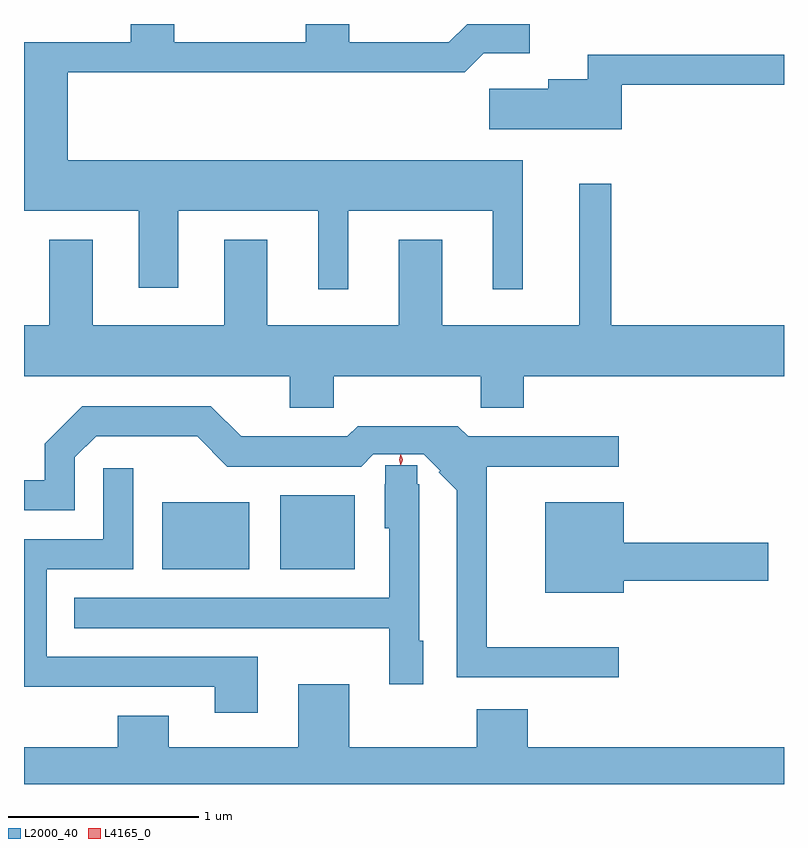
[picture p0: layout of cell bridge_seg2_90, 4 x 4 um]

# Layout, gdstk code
import gdstk
lib = gdstk.Library(unit=1e-6, precision=1e-09)
def R(c, l, rs):  # rectangles x0, y0, x1, y1
    for r in rs: c.add(gdstk.rectangle(r[:2], r[2:], *l))
def P(c, l, *ps):  # polygons
    for p in ps: c.add(gdstk.Polygon(p, *l))
L2000_40 = (2000, 40)
L4165_0 = (4165, 0)

bridge_seg2_90 = lib.new_cell('bridge_seg2_90')
R(bridge_seg2_90, L2000_40, [(1239.826,998.461,1240.284,998.814), (1240.446,998.461,1240.839,998.849)])
P(bridge_seg2_90, L2000_40, [(1240.804,1000.346),(1241.566,1000.346),(1241.566,999.933),(1241.724,999.933),(1241.724,1000.614),(1239.329,1000.614),(1239.329,1001.076),(1241.417,1001.076),(1241.517,1001.176),(1241.759,1001.176),(1241.759,1001.33),(1241.43,1001.33),(1241.334,1001.234),(1240.809,1001.234),(1240.809,1001.33),(1240.581,1001.33),(1240.581,1001.234),(1239.889,1001.234),(1239.889,1001.33),(1239.661,1001.33),(1239.661,1001.234),(1239.098,1001.234),(1239.098,1000.346),(1239.701,1000.346),(1239.701,999.941),(1239.909,999.941),(1239.909,1000.346),(1240.646,1000.346),(1240.646,999.933),(1240.804,999.933)],
  [(1242.244,1001.011),(1243.098,1001.011),(1243.098,1001.169),(1242.066,1001.169),(1242.066,1001.039),(1241.856,1001.039),(1241.856,1000.989),(1241.546,1000.989),(1241.546,1000.776),(1242.244,1000.776)],
  [(1240.729,999.476),(1241.501,999.476),(1241.501,999.311),(1241.729,999.311),(1241.729,999.476),(1243.098,999.476),(1243.098,999.744),(1242.189,999.744),(1242.189,1000.488),(1242.021,1000.488),(1242.021,999.744),(1241.299,999.744),(1241.299,1000.194),(1241.071,1000.194),(1241.071,999.744),(1240.379,999.744),(1240.379,1000.194),(1240.151,1000.194),(1240.151,999.744),(1239.459,999.744),(1239.459,1000.194),(1239.231,1000.194),(1239.231,999.744),(1239.098,999.744),(1239.098,999.476),(1240.496,999.476),(1240.496,999.311),(1240.729,999.311)],
  [(1242.228,998.049),(1241.534,998.049),(1241.534,999.001),(1242.228,999.001),(1242.228,999.159),(1241.437,999.159),(1241.382,999.214),(1240.854,999.214),(1240.799,999.159),(1240.242,999.159),(1240.082,999.319),(1239.404,999.319),(1239.206,999.122),(1239.206,998.929),(1239.098,998.929),(1239.098,998.771),(1239.364,998.771),(1239.364,999.049),(1239.477,999.161),(1240.009,999.161),(1240.169,999.001),(1240.872,999.001),(1240.937,999.066),(1241.202,999.066),(1241.288,998.98),(1241.281,998.972),(1241.376,998.877),(1241.376,997.891),(1242.228,997.891)],
  [(1241.199,998.084),(1241.179,998.084),(1241.179,998.908),(1241.168,998.908),(1241.168,999.008),(1241,999.008),(1241,998.908),(1240.996,998.908),(1240.996,998.676),(1241.021,998.676),(1241.021,998.309),(1239.363,998.309),(1239.363,998.151),(1241.021,998.151),(1241.021,997.856),(1241.199,997.856)],
  [(1240.329,997.999),(1239.219,997.999),(1239.219,998.461),(1239.674,998.461),(1239.674,998.993),(1239.516,998.993),(1239.516,998.619),(1239.098,998.619),(1239.098,997.841),(1240.101,997.841),(1240.101,997.706),(1240.329,997.706)],
  [(1242.254,998.401),(1243.014,998.401),(1243.014,998.599),(1242.254,998.599),(1242.254,998.814),(1241.841,998.814),(1241.841,998.336),(1242.254,998.336)],
  [(1243.098,997.524),(1241.749,997.524),(1241.749,997.724),(1241.481,997.724),(1241.481,997.524),(1240.809,997.524),(1240.809,997.854),(1240.541,997.854),(1240.541,997.524),(1239.859,997.524),(1239.859,997.689),(1239.591,997.689),(1239.591,997.524),(1239.098,997.524),(1239.098,997.33),(1243.098,997.33)])
P(bridge_seg2_90, L4165_0, [(1241.081,999.008),(1241.072,999.037),(1241.081,999.065),(1241.081,999.066),(1241.082,999.065),(1241.092,999.037),(1241.082,999.008),(1241.082,999.008)],
  [(1241.081,999.011),(1241.072,999.037),(1241.081,999.063),(1241.081,999.063),(1241.082,999.063),(1241.092,999.037),(1241.082,999.011),(1241.082,999.011)])

lib.write_gds('bridge_seg2_90.gds')
